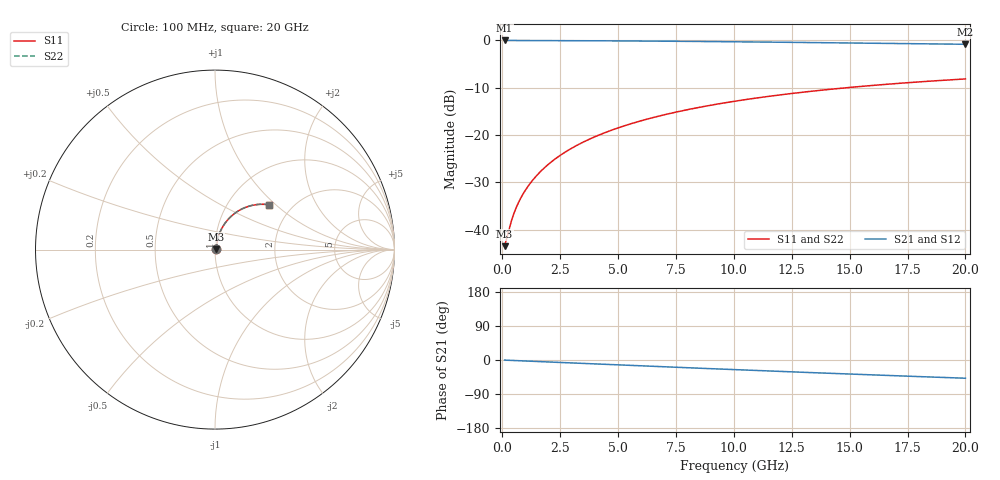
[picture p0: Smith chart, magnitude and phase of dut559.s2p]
! Touchstone file exported from HFSS 2026.1.0
!  File:  C:/ffzhzh/LocalFiles/Ansys_Project_Files/temp_train_TMRDL_559_1783007816_4048.aedt
!  Generated:  11:58:39 PM Jul  2, 2026
!  Design:  TMRDL
!  Project:  temp_train_TMRDL_559_1783007816_4048
! Variables:
!  h_bsmrdl = 2um
!  h_ox = 20um
!  h_rdl = 5um
!  h_sub = 80um
!  h_tmrdl = 2.3um
!  h_tsv = 80um
!  h_via = 3um
!  l_bsmrdl = 300um
!  l_sub = 1147.49um
!  l_tmrdl = 747.49um
!  m_sub = 200um
!  pitch = 37.14um
!  r_tsv = 6um
!  s_tmrdl = 10um
!  w_bsmrdl = 18um
!  w_sub = 500um
!  w_tmrdl = 19.31um
!  x_tsv_center1 = 757.145um
!  x_tsv_center2 = 1075.145um
!  x_tsv_center3 = 1841.945um
!  x_tsv_center4 = 2159.945um
!  x_tsv_center5 = 2926.745um
!  x_tsv_center6 = 3244.745um
# GHz S MA R 50.000000
! Terminal data exported
! Port[1] = TM_RDL1_1_T1
! Port[2] = TM_RDL1_1_T2
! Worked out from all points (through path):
!   200 points, 100 MHz to 20 GHz, reference 50 ohm
!   highest |S21| = -0.05 dB at 100 MHz (marker M1); lowest = -0.9 dB at 20 GHz (marker M2)
!   group delay of S21, straight-line fit = 6.69 ps
!   lowest |S11| = -43.4 dB at 100 MHz (marker M3), VSWR 1.01, Z = 50.6 + j0.275 ohm
!   |S11| at or under -10 dB: start of sweep to 14.91 GHz
!   |S22| runs from -43.4 to -8.2 dB; largest |S21 - S12| = 3.5e-15
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0.1  0.006733 23.8  0.9938 -0.3  0.9938 -0.3  0.006733 23.8
! Gamma 0 0 0 0
! Port Impedance 50 0 50 0
0.3  0.01037 50.5  0.9935 -0.8  0.9935 -0.8  0.01037 50.5
0.4  0.01258 56.7  0.9932 -1.1  0.9932 -1.1  0.01258 56.7
0.5  0.01486 60.8  0.993 -1.4  0.993 -1.4  0.01486 60.8
0.6  0.01714 63.8  0.9927 -1.6  0.9927 -1.6  0.01714 63.8
0.7  0.01942 66.0  0.9925 -1.9  0.9925 -1.9  0.01942 66.0
0.9  0.02398 69.1  0.9921 -2.4  0.9921 -2.4  0.02398 69.1
1.2  0.03085 72.0  0.9917 -3.2  0.9917 -3.2  0.03085 72.0
1.4  0.03545 73.2  0.9914 -3.7  0.9914 -3.7  0.03545 73.2
1.7  0.04239 74.4  0.991 -4.4  0.991 -4.4  0.04239 74.4
2.2  0.05403 75.4  0.9902 -5.7  0.9902 -5.7  0.05403 75.4
2.8  0.06805 75.5  0.9892 -7.3  0.9892 -7.3  0.06805 75.5
3.5  0.08437 75.0  0.9877 -9.1  0.9877 -9.1  0.08437 75.0
4.2  0.1006 74.0  0.986 -10.9  0.986 -10.9  0.1006 74.0
5  0.119 72.6  0.9837 -12.9  0.9837 -12.9  0.1189 72.7
5.9  0.1393 70.9  0.9807 -15.2  0.9807 -15.2  0.1393 70.9
6.8  0.1593 69.0  0.9773 -17.4  0.9773 -17.4  0.1593 69.0
8.3  0.1916 65.7  0.9709 -21.2  0.9709 -21.2  0.1916 65.7
10.1  0.2285 61.6  0.9622 -25.6  0.9622 -25.6  0.2285 61.6
13.4  0.2904 54.1  0.9442 -33.4  0.9442 -33.4  0.2904 54.2
16.7  0.3445 46.8  0.925 -40.9  0.925 -40.9  0.3444 46.9
20  0.3904 39.8  0.906 -48.1  0.906 -48.1  0.3903 39.9
